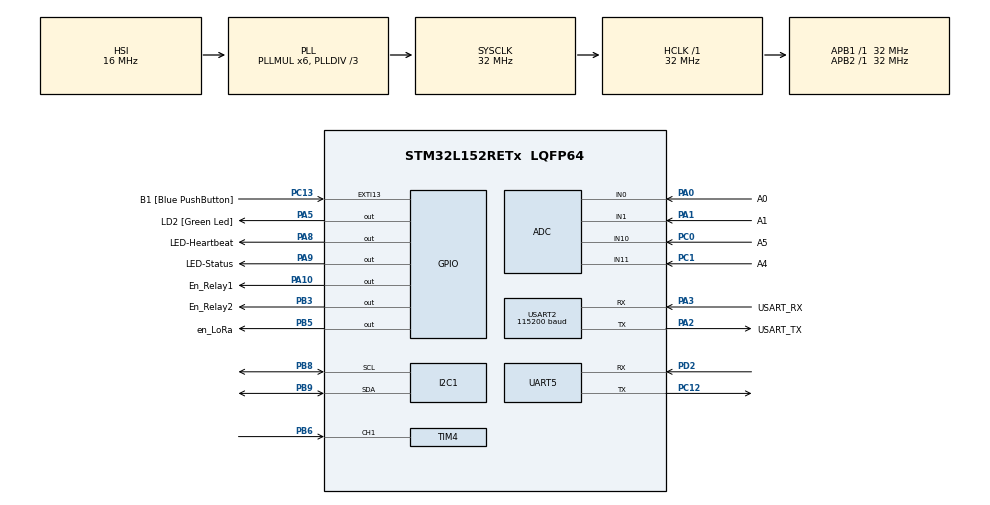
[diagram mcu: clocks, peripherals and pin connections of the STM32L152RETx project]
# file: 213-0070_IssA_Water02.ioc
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ADC.Channel-0\#ChannelRegularConversion=ADC_CHANNEL_0
ADC.Channel-1\#ChannelRegularConversion=ADC_CHANNEL_1
ADC.Channel-2\#ChannelRegularConversion=ADC_CHANNEL_11
ADC.Channel-3\#ChannelRegularConversion=ADC_CHANNEL_10
ADC.ClockPrescaler=ADC_CLOCK_ASYNC_DIV2
ADC.ContinuousConvMode=ENABLE
ADC.DMAContinuousRequests=ENABLE
ADC.NbrOfConversion=4
ADC.NbrOfConversionFlag=1
ADC.Rank-0\#ChannelRegularConversion=1
ADC.Rank-1\#ChannelRegularConversion=2
ADC.Rank-2\#ChannelRegularConversion=3
ADC.Rank-3\#ChannelRegularConversion=4
ADC.SamplingTime-0\#ChannelRegularConversion=ADC_SAMPLETIME_192CYCLES
ADC.SamplingTime-1\#ChannelRegularConversion=ADC_SAMPLETIME_192CYCLES
ADC.SamplingTime-2\#ChannelRegularConversion=ADC_SAMPLETIME_192CYCLES
ADC.SamplingTime-3\#ChannelRegularConversion=ADC_SAMPLETIME_192CYCLES
ADC.ScanConvMode=ADC_SCAN_ENABLE
Dma.ADC.0.Direction=DMA_PERIPH_TO_MEMORY
Dma.ADC.0.Instance=DMA1_Channel1
Dma.ADC.0.MemDataAlignment=DMA_MDATAALIGN_WORD
Dma.ADC.0.MemInc=DMA_MINC_ENABLE
Dma.ADC.0.Mode=DMA_CIRCULAR
Dma.ADC.0.PeriphDataAlignment=DMA_PDATAALIGN_HALFWORD
Dma.ADC.0.PeriphInc=DMA_PINC_DISABLE
Dma.ADC.0.Priority=DMA_PRIORITY_LOW
Dma.Request0=ADC
IWDG.Prescaler=IWDG_PRESCALER_64
Mcu.Family=STM32L1
Mcu.Name=STM32L152RETx
Mcu.Package=LQFP64
NVIC.ADC1_IRQn=true\:0\:0\:false\:false\:true\:true\:true\:true
NVIC.DMA1_Channel1_IRQn=true\:0\:0\:false\:false\:true\:false\:true\:true
NVIC.PriorityGroup=NVIC_PRIORITYGROUP_0
NVIC.UART5_IRQn=true\:0\:0\:false\:false\:true\:true\:true\:true
NVIC.USART2_IRQn=true\:0\:0\:false\:false\:true\:true\:true\:true
PA0-WKUP1.GPIO_Label=A0
PA0-WKUP1.Mode=IN0
PA0-WKUP1.Signal=ADC_IN0
PA1.GPIO_Label=A1
PA1.Mode=IN1
PA1.Signal=ADC_IN1
PA10.GPIO_Label=En_Relay1
PA10.Signal=GPIO_Output
PA13.GPIO_Label=TMS
PA13.Mode=Serial_Wire
PA13.Signal=SYS_JTMS-SWDIO
PA14.GPIO_Label=TCK
PA14.Mode=Serial_Wire
PA14.Signal=SYS_JTCK-SWCLK
PA2.GPIO_Label=USART_TX
PA2.Mode=Asynchronous
PA2.Signal=USART2_TX
PA3.GPIO_Label=USART_RX
PA3.Mode=Asynchronous
PA3.Signal=USART2_RX
PA5.GPIO_Label=LD2 [Green Led]
PA5.Signal=GPIO_Output
PA8.GPIO_Label=LED-Heartbeat
PA8.Signal=GPIO_Output
PA9.GPIO_Label=LED-Status
PA9.Signal=GPIO_Output
PB3.GPIO_Label=En_Relay2
PB3.Signal=GPIO_Output
PB5.GPIO_Label=en_LoRa
PB5.Signal=GPIO_Output
PB6.Signal=S_TIM4_CH1
PB8.Mode=I2C
PB8.Signal=I2C1_SCL
PB9.Mode=I2C
PB9.Signal=I2C1_SDA
PC0.GPIO_Label=A5
PC0.Mode=IN10
PC0.Signal=ADC_IN10
PC1.GPIO_Label=A4
PC1.Mode=IN11
PC1.Signal=ADC_IN11
PC12.Mode=Asynchronous
PC12.Signal=UART5_TX
PC13-WKUP2.GPIO_Label=B1 [Blue PushButton]
PC13-WKUP2.Signal=GPXTI13
PC14-OSC32_IN.Mode=LSE-External-Oscillator
PC14-OSC32_IN.Signal=RCC_OSC32_IN
PC15-OSC32_OUT.Mode=LSE-External-Oscillator
PC15-OSC32_OUT.Signal=RCC_OSC32_OUT
PD2.Mode=Asynchronous
PD2.Signal=UART5_RX
PH0-OSC_IN.Mode=HSE-External-Clock-Source
PH0-OSC_IN.Signal=RCC_OSC_IN
PH1-OSC_OUT.Signal=RCC_OSC_OUT
ProjectManager.HeapSize=0x200
ProjectManager.StackSize=0x400
ProjectManager.TargetToolchain=STM32CubeIDE
RCC.48MHZClocksFreq_Value=48000000
RCC.AHBFreq_Value=32000000
RCC.APB1Freq_Value=32000000
RCC.APB1TimFreq_Value=32000000
RCC.APB2Freq_Value=32000000
RCC.APB2TimFreq_Value=32000000
RCC.HCLKFreq_Value=32000000
RCC.HSE_VALUE=8000000
RCC.HSI_VALUE=16000000
RCC.MSI_VALUE=2097000
RCC.PLLDIV=RCC_PLL_DIV3
RCC.PLLMUL=RCC_PLL_MUL6
RCC.RTCClockSelectionVirtual=RCC_RTCCLKSOURCE_LSE
RCC.SYSCLKFreq_VALUE=32000000
RCC.SYSCLKSource=RCC_SYSCLKSOURCE_PLLCLK
RCC.USBOutput=48000000
RCC.VCOOutputFreq_Value=96000000
SH.S_TIM4_CH1.0=TIM4_CH1,TriggerSource_TI1FP1
TIM2.Period=65535
TIM2.Prescaler=31
UART5.VirtualMode=Asynchronous
USART2.BaudRate=115200
USART2.VirtualMode=VM_ASYNC
VP_IWDG_VS_IWDG.Mode=IWDG_Activate
VP_RTC_VS_RTC_Activate.Mode=RTC_Enabled
VP_RTC_VS_RTC_Calendar.Mode=RTC_Calendar
VP_TIM2_VS_ClockSourceINT.Mode=Internal
VP_TIM4_VS_ControllerModeClock.Mode=Clock Mode
board=NUCLEO-L152RE

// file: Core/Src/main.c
/* USER CODE BEGIN Header */
/**
  ******************************************************************************
  * @file           : main.c
  * @brief          : Main program body
  ******************************************************************************
  * @attention
  *
  * Copyright (c) 2026 STMicroelectronics.
  * All rights reserved.
  *
  * This software is licensed under terms that can be found in the LICENSE file
  * in the root directory of this software component.
  * If no LICENSE file comes with this software, it is provided AS-IS.
  *
  ******************************************************************************
  */
/* USER CODE END Header */
#include "main.h"
#include "adc.h"
#include "dma.h"
#include "i2c.h"
#include "iwdg.h"
#include "rtc.h"
#include "tim.h"
#include "usart.h"
#include "gpio.h"

/* USER CODE BEGIN Includes */
#include "string.h"
#include "stdio.h"
#include "eric_lora.h"
#include "terminal_console.h"
#include "dashboard.h"
#include "sht25.h"
#include "water_sensor.h"
#include "status_led.h"
#include "telemetry.h"
#include "remote_command.h"
#include "relay.h"
#include "pump_control.h"
#include "water_level.h"
/* USER CODE END Includes */

/* USER CODE BEGIN PV */
uint8_t debug_tx[80];
uint32_t adcBuffer[ADC_CHANS];

uint8_t debug_uart_rx;
uint8_t eric_uart_rx;

uint32_t waterSensorLastUpdate = 0;

/* USER CODE END PV */

void SystemClock_Config(void);
/* USER CODE BEGIN PFP */
void InitializeTimer(void);
void DisplayString(UART_HandleTypeDef * huart);
/* USER CODE END PFP */

/* USER CODE BEGIN 0 */
void HAL_UART_RxCpltCallback(UART_HandleTypeDef *huart)
{
    if (huart == debug_uart)
    {
        TerminalConsole_RxByte(debug_uart_rx);

        HAL_UART_Receive_IT(debug_uart,&debug_uart_rx,1);
    }
    else if (huart == eric_uart)
    {
        ERIC_UART_RxByte(eric_uart_rx);

        HAL_UART_Receive_IT(eric_uart,&eric_uart_rx,1);
    }
}

extern uint32_t adcBuffer[ADC_CHANS];

void HAL_ADC_ConvCpltCallback(ADC_HandleTypeDef *hadc)
{
    if (hadc->Instance == ADC1)
    {
        Dashboard_UpdateAdcValues(adcBuffer, ADC_CHANS);
    }
}
/* USER CODE END 0 */

int main(void)
{

  /* USER CODE BEGIN 1 */
  static uint32_t lastRefresh = 0;
  static uint32_t lastWaterDashboardRefresh = 0U;
  uint32_t lastSecond = 0xFFFFFFFF;
  uint32_t lastMinute = 0xFFFFFFFF;
  ERIC_Status_t status;
  WaterSensor_Measurement_t water_measurement;
  static uint32_t heartbeat_cycle_start = 0U;
  static GPIO_PinState heartbeat_state = GPIO_PIN_SET;
  static uint32_t lastTelemetryTx = 0U;
  /* USER CODE END 1 */

  /* MCU Configuration--------------------------------------------------------*/

  /* Reset of all peripherals, Initializes the Flash interface and the Systick. */
  HAL_Init();

  /* Configure the system clock */
  SystemClock_Config();

  /* Initialize all configured peripherals */
  MX_GPIO_Init();
  MX_DMA_Init();
  MX_USART2_UART_Init();
  MX_ADC_Init();
  MX_I2C1_Init();
  MX_UART5_Init();
  MX_RTC_Init();
  MX_TIM4_Init();
  MX_TIM2_Init();
  /* USER CODE BEGIN 2 */
  Relay_Init();
  PumpControl_Init();
  StatusLed_Init();
  RemoteCommand_Init();
  if (WaterSensor_Init(&htim2, &htim4) != HAL_OK)
  {
      Error_Handler();
  }
  HAL_UART_Receive_IT(debug_uart, &debug_uart_rx, 1);
  HAL_Delay(50);
  HAL_GPIO_WritePin(GPIOB, en_LoRa_Pin, GPIO_PIN_SET);

  HAL_GPIO_WritePin(LED_Heartbeat_GPIO_Port, LED_Heartbeat_Pin, GPIO_PIN_SET);
  HAL_GPIO_WritePin(LED_Status_GPIO_Port, LED_Status_Pin, LED_STATUS_OFF_STATE);

  /* Allow the eRIC4 module to power up. */
  HAL_Delay(500);

  status = ERIC_Init(eric_uart,&eric_uart_rx);

  if (status != ERIC_OK)
  {
      Error_Handler();
  }

  status = ERIC_DetectUartBaudRate();

  if (status != ERIC_OK)
  {
      Error_Handler();
  }

  /* If you want the radio always standardised at 115200, follow detection with:
  if (eric_uart->Init.BaudRate != 115200U)
  {
      status = ERIC_SetUartBaudRate(8U);

      if (status != ERIC_OK)
      {
          Error_Handler();
      }
  }
  */

  HAL_Delay(500);

  if (status == ERIC_OK)
  {
      HAL_Delay(100);
  }

  HAL_Delay(500);

  ERIC_RefreshSettings();

  if (SHT25_Init(&hi2c1) != HAL_OK)
  {
      const char message[] = "SHT25 sensor not detected\r\n";

      HAL_UART_Transmit(debug_uart, (uint8_t *)message, sizeof(message) - 1U, HAL_MAX_DELAY);
  }

  if (HAL_ADC_Start_DMA(&hadc, adcBuffer, ADC_CHANS) != HAL_OK)
  {
      Error_Handler();
  }

  /*
   * Give the ADC time to complete at least one scan before
   * displaying ADC-derived values.
   */
  HAL_Delay(10U);

  /*
   * Take an initial water measurement so the first dashboard
   * display contains valid water-sensor data.
   */
  if (WaterSensor_Measure(&water_measurement) == HAL_OK)
  {
      float depth_cm;
      float percent;

      Dashboard_SetWaterValues(
          water_measurement.count,
          water_measurement.gate_us,
          water_measurement.frequency_hz,
          water_measurement.filtered_frequency_hz);

      depth_cm = WaterLevel_FrequencyToCm(water_measurement.filtered_frequency_hz);

      percent =
          WaterLevel_DepthToPercent(
              depth_cm);

      PumpControl_Update(percent);
  }

  Dashboard_Show(debug_uart);
  Dashboard_Refresh(debug_uart);

  StatusLed_SetState(STATUS_LED_NORMAL);

  /*
   * Start the independent watchdog only after
   * application initialisation has completed.
   */

  MX_IWDG_Init();

  /* USER CODE END 2 */

  /* Infinite loop */
  while (1)
  {

    /* USER CODE BEGIN 3 */
	  RemoteCommand_Task();

	  Relay_Task();

	  if (PumpControl_IsAutomatic())
	  {
	      if (PumpControl_IsRequested())
	      {
	          /*
	           * The level controller wants the pump running.
	           *
	           * Do not repeatedly request ON while Relay 1
	           * is in its mandatory rest/lockout period.
	           */
	          if ((Relay_Get(RELAY_1) == RELAY_OFF) &&
	              (Relay1_GetLockoutRemainingMs() == 0U))
	          {
	              (void)Relay_Set(
	                  RELAY_1,
	                  RELAY_ON);
	          }
	      }
	      else
	      {
	          /*
	           * The level controller wants the pump stopped.
	           */
	          if (Relay_Get(RELAY_1) == RELAY_ON)
	          {
	              (void)Relay_Set(
	                  RELAY_1,
	                  RELAY_OFF);
	          }
	      }
	  }

	  if (RemoteCommand_StreamJustResumed())
	  {
	      /*
	       * Cause the first telemetry packet to be transmitted
	       * immediately after leaving command mode.
	       */
	      lastTelemetryTx = 0U;
	  }

	  if ((HAL_GetTick() - waterSensorLastUpdate) >= WATER_SENSOR_UPDATE_PERIOD_MS)
	  {
	      waterSensorLastUpdate = HAL_GetTick();

	      if (WaterSensor_Measure(&water_measurement) == HAL_OK)
	      {
	          float depth_cm;
	          float percent;

	          Dashboard_SetWaterValues(
	              water_measurement.count,
	              water_measurement.gate_us,
	              water_measurement.frequency_hz,
	              water_measurement.filtered_frequency_hz);

	          depth_cm = WaterLevel_FrequencyToCm(water_measurement.filtered_frequency_hz);

	          percent =
	              WaterLevel_DepthToPercent(
	                  depth_cm);

	          PumpControl_Update(percent);
	      }
	  }
	  if (TerminalConsole_RedrawCommandScreen())
	  {
	      TerminalConsole_ShowScreen(debug_uart);
	  }

	  if (TerminalConsole_RedrawDashboard())
	  {
	      Dashboard_Show(debug_uart);
	      Dashboard_Refresh(debug_uart);

	      /*
	       * Prevent the periodic code from immediately treating the
	       * current second/minute as a new update.
	       */
	      RTC_TimeTypeDef currentTime;
	      RTC_DateTypeDef currentDate;

	      HAL_RTC_GetTime(&hrtc, &currentTime, RTC_FORMAT_BIN);
	      HAL_RTC_GetDate(&hrtc, &currentDate, RTC_FORMAT_BIN);

	      lastSecond = currentTime.Seconds;
	      lastMinute = currentTime.Minutes;
	  }

	  TerminalConsole_Task(debug_uart);

	  RTC_TimeTypeDef sTime;
	  RTC_DateTypeDef sDate;

	  HAL_RTC_GetTime(&hrtc, &sTime, RTC_FORMAT_BIN);
	  HAL_RTC_GetDate(&hrtc, &sDate, RTC_FORMAT_BIN);

	  if (sTime.Seconds != lastSecond)
	  {
	      lastSecond = sTime.Seconds;
	      if (!TerminalConsole_IsActive())
	      {
	    	  Dashboard_DisplayTime(debug_uart);
	      }
	  }

	  if ((HAL_GetTick() - lastWaterDashboardRefresh) >= 1000U)
	  {
	      lastWaterDashboardRefresh = HAL_GetTick();

	      if (!TerminalConsole_IsActive())
	      {
	          Dashboard_DisplayWaterCount(debug_uart);
	          Dashboard_DisplayWaterGate(debug_uart);
	          Dashboard_DisplayWaterFrequency(debug_uart);
	          Dashboard_DisplayWaterFilteredFrequency(debug_uart);
	          Dashboard_DisplayWaterDepth(debug_uart);
	          Dashboard_DisplayWaterPercent(debug_uart);
	          Dashboard_DisplayWaterLitres(debug_uart);

	          Dashboard_DisplayPumpRequest(debug_uart);
	          Dashboard_DisplayPumpMode(debug_uart);
	          Dashboard_DisplayPumpRelay(debug_uart);
	          Dashboard_DisplayPumpLockout(debug_uart);
	      }
	  }

	  if (sTime.Minutes != lastMinute)
	  {
	      lastMinute = sTime.Minutes;

	      if (!TerminalConsole_IsActive())
	      {
	    	  Dashboard_DisplayDate(debug_uart);
	    	  Dashboard_DisplayTemperature(debug_uart);
	    	  Dashboard_DisplayHumidity(debug_uart);
	      }
	  }

	  if ((HAL_GetTick() - lastRefresh) >= 60000)
	  {
	      lastRefresh = HAL_GetTick();

	      if (!TerminalConsole_IsActive())
	      {
	    	  Dashboard_Refresh(debug_uart);
	      }
	  }

	  if (RemoteCommand_IsStreamMode() && ((HAL_GetTick() - lastTelemetryTx) >= 5000U))
	  {
	      char telemetry[192];
	      ERIC_Status_t tx_status;

	      lastTelemetryTx = HAL_GetTick();

	      Telemetry_BuildString(
	          telemetry,
	          sizeof(telemetry));

	      tx_status = ERIC_SendString(telemetry);

	      if (tx_status == ERIC_OK)
	      {
	          tx_status = ERIC_SendString("\r\n");
	      }

	      if (tx_status == ERIC_OK)
	      {
	          StatusLed_PulseTx();
	      }
	  }

	  uint32_t heartbeat_elapsed;
	  GPIO_PinState required_state;

	  heartbeat_elapsed = HAL_GetTick() - heartbeat_cycle_start;

	  /*
	   * Start a new one-second heartbeat cycle.
	   */
	  if (heartbeat_elapsed >= 1000U)
	  {
	      heartbeat_cycle_start += 1000U;
	      heartbeat_elapsed = HAL_GetTick() - heartbeat_cycle_start;
	  }

	  /*
	   * Active-low LED:
	   *
	   * First 50 ms  -> RESET -> LED on
	   * Remaining    -> SET   -> LED off
	   */
	  required_state = (heartbeat_elapsed < 50U)
	          ? GPIO_PIN_RESET
	          : GPIO_PIN_SET;

	  /*
	   * Only write to the GPIO when the required LED state changes.
	   */
	  if (required_state != heartbeat_state)
	  {
	      heartbeat_state = required_state;

	      HAL_GPIO_WritePin(LED_Heartbeat_GPIO_Port, LED_Heartbeat_Pin, heartbeat_state);
	  }

	  StatusLed_Task();

	  if (HAL_IWDG_Refresh(&hiwdg) != HAL_OK)
	  {
	      Error_Handler();
	  }

  }
  /* USER CODE END 3 */
}

void SystemClock_Config(void)
{
  RCC_OscInitTypeDef RCC_OscInitStruct = {0};
  RCC_ClkInitTypeDef RCC_ClkInitStruct = {0};
  RCC_PeriphCLKInitTypeDef PeriphClkInit = {0};

  /** Configure the main internal regulator output voltage
  */
  __HAL_PWR_VOLTAGESCALING_CONFIG(PWR_REGULATOR_VOLTAGE_SCALE1);

  /** Initializes the RCC Oscillators according to the specified parameters
  * in the RCC_OscInitTypeDef structure.
  */
  RCC_OscInitStruct.OscillatorType = RCC_OSCILLATORTYPE_HSI|RCC_OSCILLATORTYPE_LSI
                              |RCC_OSCILLATORTYPE_LSE;
  RCC_OscInitStruct.LSEState = RCC_LSE_ON;
  RCC_OscInitStruct.HSIState = RCC_HSI_ON;
  RCC_OscInitStruct.HSICalibrationValue = RCC_HSICALIBRATION_DEFAULT;
  RCC_OscInitStruct.LSIState = RCC_LSI_ON;
  RCC_OscInitStruct.PLL.PLLState = RCC_PLL_ON;
  RCC_OscInitStruct.PLL.PLLSource = RCC_PLLSOURCE_HSI;
  RCC_OscInitStruct.PLL.PLLMUL = RCC_PLL_MUL6;
  RCC_OscInitStruct.PLL.PLLDIV = RCC_PLL_DIV3;
  if (HAL_RCC_OscConfig(&RCC_OscInitStruct) != HAL_OK)
  {
    Error_Handler();
  }

  /** Initializes the CPU, AHB and APB buses clocks
  */
  RCC_ClkInitStruct.ClockType = RCC_CLOCKTYPE_HCLK|RCC_CLOCKTYPE_SYSCLK
                              |RCC_CLOCKTYPE_PCLK1|RCC_CLOCKTYPE_PCLK2;
  RCC_ClkInitStruct.SYSCLKSource = RCC_SYSCLKSOURCE_PLLCLK;
  RCC_ClkInitStruct.AHBCLKDivider = RCC_SYSCLK_DIV1;
  RCC_ClkInitStruct.APB1CLKDivider = RCC_HCLK_DIV1;
  RCC_ClkInitStruct.APB2CLKDivider = RCC_HCLK_DIV1;

  if (HAL_RCC_ClockConfig(&RCC_ClkInitStruct, FLASH_LATENCY_1) != HAL_OK)
  {
    Error_Handler();
  }
  PeriphClkInit.PeriphClockSelection = RCC_PERIPHCLK_RTC;
  PeriphClkInit.RTCClockSelection = RCC_RTCCLKSOURCE_LSE;
  if (HAL_RCCEx_PeriphCLKConfig(&PeriphClkInit) != HAL_OK)
  {
    Error_Handler();
  }
}

void Error_Handler(void)
{
  __disable_irq();
  while (1)
  {
  }
}
